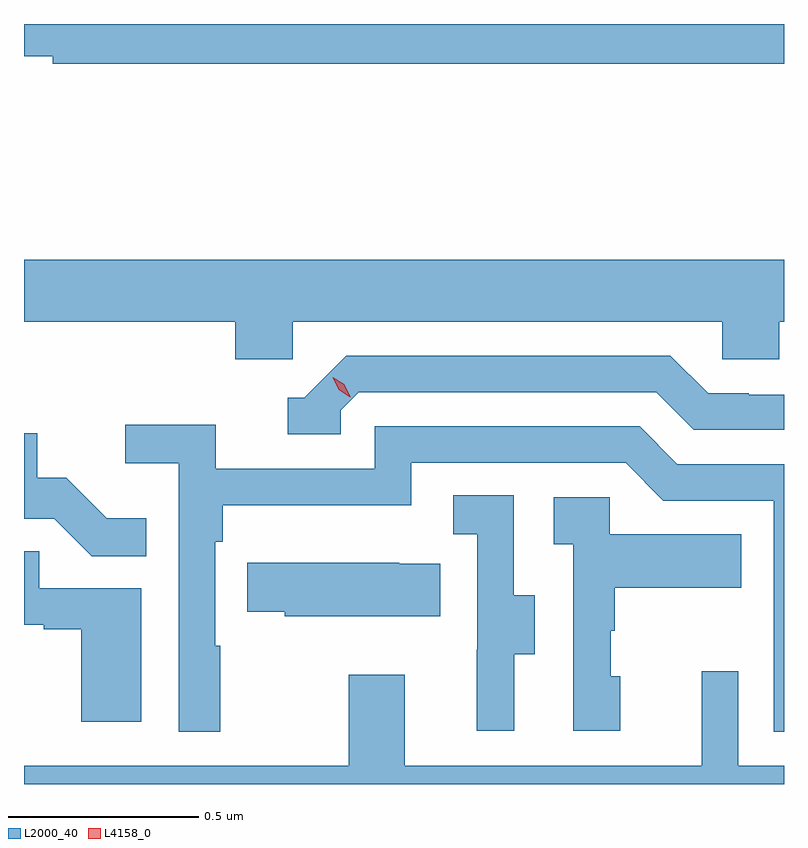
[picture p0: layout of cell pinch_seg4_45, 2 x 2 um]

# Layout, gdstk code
import gdstk
lib = gdstk.Library(unit=1e-6, precision=1e-09)
def P(c, l, *ps):  # polygons
    for p in ps: c.add(gdstk.Polygon(p, *l))
L2000_40 = (2000, 40)
L4158_0 = (4158, 0)

pinch_seg4_45 = lib.new_cell('pinch_seg4_45')
P(pinch_seg4_45, L2000_40, [(1144.215,826.908),(1142.215,826.908),(1142.215,826.823),(1142.29,826.823),(1142.29,826.804),(1144.215,826.804)],
  [(1142.922,826.124),(1144.053,826.124),(1144.053,826.026),(1144.203,826.026),(1144.203,826.124),(1144.215,826.124),(1144.215,826.288),(1142.215,826.288),(1142.215,826.124),(1142.771,826.124),(1142.771,826.026),(1142.922,826.026)],
  [(1143.048,825.891),(1143.096,825.939),(1143.879,825.939),(1143.978,825.84),(1144.215,825.84),(1144.215,825.933),(1144.122,825.933),(1144.122,825.936),(1144.015,825.936),(1143.916,826.035),(1143.063,826.035),(1142.952,825.924),(1142.909,825.924),(1142.909,825.828),(1143.048,825.828)],
  [(1142.731,825.272),(1142.718,825.272),(1142.718,825.545),(1142.738,825.545),(1142.738,825.641),(1143.234,825.641),(1143.234,825.753),(1143.798,825.753),(1143.897,825.654),(1144.188,825.654),(1144.188,825.045),(1144.215,825.045),(1144.215,825.75),(1143.934,825.75),(1143.835,825.849),(1143.138,825.849),(1143.138,825.738),(1142.72,825.738),(1142.72,825.854),(1142.481,825.854),(1142.481,825.752),(1142.622,825.752),(1142.622,825.045),(1142.731,825.045)],
  [(1142.537,825.607),(1142.433,825.607),(1142.326,825.714),(1142.25,825.714),(1142.25,825.831),(1142.215,825.831),(1142.215,825.606),(1142.295,825.606),(1142.393,825.508),(1142.537,825.508)],
  [(1143.505,825.25),(1143.559,825.25),(1143.559,825.405),(1143.504,825.405),(1143.504,825.668),(1143.345,825.668),(1143.345,825.565),(1143.408,825.565),(1143.408,825.261),(1143.407,825.261),(1143.407,825.048),(1143.505,825.048)],
  [(1143.784,825.192),(1143.759,825.192),(1143.759,825.311),(1143.769,825.311),(1143.769,825.425),(1144.103,825.425),(1144.103,825.565),(1143.756,825.565),(1143.756,825.663),(1143.609,825.663),(1143.609,825.539),(1143.66,825.539),(1143.66,825.048),(1143.784,825.048)],
  [(1142.524,825.423),(1142.255,825.423),(1142.255,825.521),(1142.215,825.521),(1142.215,825.327),(1142.267,825.327),(1142.267,825.315),(1142.366,825.315),(1142.366,825.072),(1142.524,825.072)],
  [(1143.311,825.487),(1143.203,825.487),(1143.203,825.49),(1142.803,825.49),(1142.803,825.361),(1142.901,825.361),(1142.901,825.35),(1143.311,825.35)],
  [(1144.215,824.956),(1144.095,824.956),(1144.095,825.205),(1143.998,825.205),(1143.998,824.956),(1143.217,824.956),(1143.217,825.196),(1143.07,825.196),(1143.07,824.956),(1142.215,824.956),(1142.215,824.908),(1144.215,824.908)])
P(pinch_seg4_45, L4158_0, [(1143.073,825.926),(1143.043,825.946),(1143.027,825.979),(1143.027,825.979),(1143.028,825.979),(1143.058,825.96),(1143.074,825.927),(1143.074,825.926)])

lib.write_gds('pinch_seg4_45.gds')
